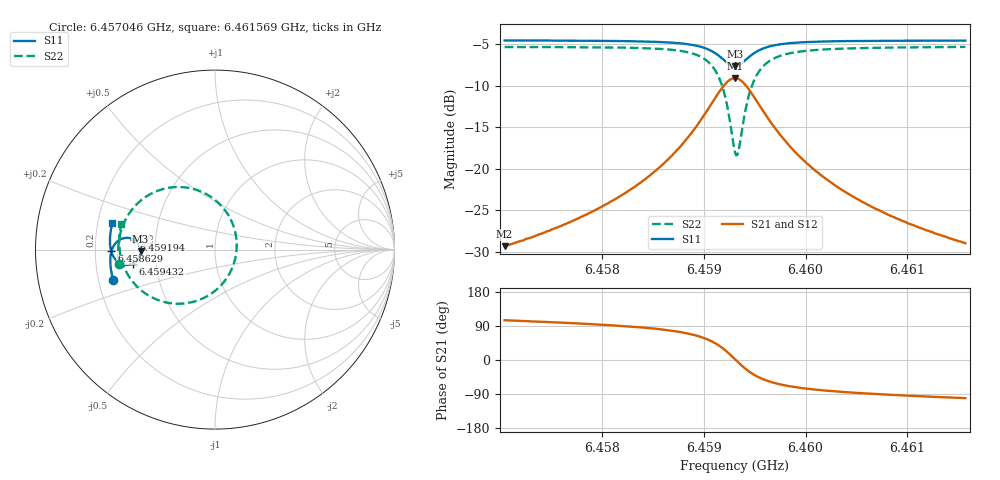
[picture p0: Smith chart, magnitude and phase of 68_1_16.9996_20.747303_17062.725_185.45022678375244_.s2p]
#  HZ  S  RI  R  50.00
! Rohde & Schwarz Vector Network Analyzer
! Rohde-Schwarz,ZNB20-2Port,1311601062101988,3.16
! Created: UTC 3/20/2024, 10:55:05 PM
! freq[Hz]  re:S11  im:S11  re:S21  im:S21  re:S12  im:S12  re:S22  im:S22
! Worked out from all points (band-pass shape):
!   401 points, 6.457046 GHz to 6.461569 GHz, reference 50 ohm
!   highest |S21| = -9.09 dB at 6.459307 GHz (marker M1); lowest = -29.3 dB at 6.457046 GHz (marker M2)
!   |S21| within 3 dB of the highest: 6.459081 GHz to 6.459533 GHz (451.8 kHz wide, 0.00699 % of centre)
!   lowest |S11| = -7.6 dB at 6.459307 GHz (marker M3), VSWR 2.42, Z = 20.7 - j0.507 ohm
!   |S11| at or under -10 dB: nowhere
!   |S22| runs from -18.4 to -5.3 dB; largest |S21 - S12| = 0.014
!   S11 on the Smith chart (normalised r, x): 6.457046 GHz: 0.26, -0.14; 6.458629 GHz: 0.27, -0.01; 6.459194 GHz: 0.38, +0.05; 6.459432 GHz: 0.37, -0.07; 6.461569 GHz: 0.26, +0.12
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6.457046e9  -0.5675 -0.1683  -0.00883 0.0331  -0.00693 0.033  -0.5346 -0.0778
6.4578035e9  -0.5809 -0.1017  -0.00526 0.0513  -0.00271 0.0506  -0.5388 0.0119
6.4581993e9  -0.5835 -0.0618  0.000299 0.0696  0.00347 0.0682  -0.5308 0.075
6.4585611e9  -0.5794 -0.0184  0.015 0.1003  0.0191 0.0975  -0.5033 0.157
6.458629e9  -0.5771 -0.00891  0.0205 0.1088  0.0245 0.1055  -0.4932 0.1771
6.4588212e9  -0.5641 0.0216  0.0476 0.1402  0.0517 0.1351  -0.4421 0.2466
6.4589682e9  -0.5411 0.0479  0.0938 0.1709  0.097 0.1641  -0.357 0.311
6.4591039e9  -0.4963 0.0654  0.1827 0.1872  0.1835 0.18  -0.1948 0.3485
6.4591943e9  -0.4507 0.0545  0.274 0.1549  0.2742 0.1491  -0.0259 0.2957
6.4592622e9  -0.4213 0.0216  0.335 0.0812  0.3372 0.0759  0.0901 0.1627
6.4593074e9  -0.4145 -0.0101  0.3511 0.0122  0.3549 0.00507  0.121 0.0332
6.4593413e9  -0.4186 -0.0344  0.3447 -0.0412  0.3489 -0.0505  0.1083 -0.0678
6.4593866e9  -0.4346 -0.061  0.3153 -0.1018  0.3175 -0.114  0.0484 -0.182
6.4594318e9  -0.4571 -0.0775  0.2723 -0.1432  0.2713 -0.1566  -0.0389 -0.2569
6.4595223e9  -0.5012 -0.0845  0.186 -0.174  0.1798 -0.1857  -0.2105 -0.3017
6.4595901e9  -0.5259 -0.0773  0.1371 -0.1716  0.1289 -0.1807  -0.3048 -0.2856
6.4596693e9  -0.5457 -0.064  0.097 -0.1593  0.0883 -0.1655  -0.3795 -0.2501
6.4598276e9  -0.5677 -0.0363  0.0516 -0.1309  0.0439 -0.1335  -0.4602 -0.1768
6.460065e9  -0.5806 -0.000776  0.0223 -0.0988  0.0164 -0.0994  -0.5082 -0.0934
6.4604268e9  -0.5854 0.0424  0.00547 -0.0702  0.00167 -0.0695  -0.5301 -0.00956
6.4608226e9  -0.5835 0.0824  -0.00169 -0.0526  -0.00442 -0.0517  -0.5335 0.0542
6.4615689e9  -0.5718 0.1487  -0.00664 -0.0351  -0.00835 -0.0342  -0.5221 0.1433
